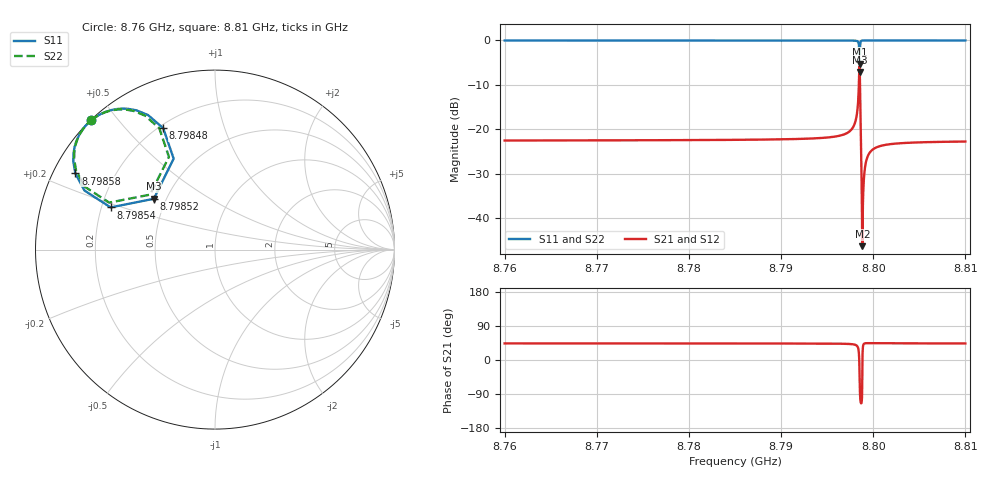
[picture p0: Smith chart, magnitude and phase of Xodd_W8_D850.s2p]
! Sonnet Data File
! From: emgraph Version : 16.52
! From Project: Qubit_Xmon2_brg
! Data is De-embedded
! Data File Written: 10/25/2017 15:28:40
!< HDATE 10/25/2017 13:50:25
!< MDATE 10/25/2017 13:50:25
!< PARAMS
!< Lj = 11.0
!< Gap = 6.0
!< Pwid = 2000.0
!< Airgap = 6.0
!< Width = 10.0
!< Bwid = 8.0
!< Dis1 = 850.0
!< Dis2 = 856.0
!< END PARAMS
# GHZ S MA R 34.70000
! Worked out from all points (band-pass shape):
!   2501 points, 8.76 GHz to 8.81 GHz, reference 34.7 ohm
!   highest |S21| = -5.32 dB at 8.79852 GHz (marker M1); lowest = -46.2 dB at 8.79882 GHz (marker M2)
!   |S21| within 3 dB of the highest: 8.798464 GHz to 8.79855 GHz (85.96 kHz wide, 0.000977 % of centre)
!   lowest |S11| = -7.1 dB at 8.79852 GHz (marker M3), VSWR 2.59, Z = 14.9 + j10.5 ohm
!   |S11| at or under -10 dB: nowhere
!   |S22| runs from -6.5 to 0.0 dB; largest |S21 - S12| = 0
!   S11 on the Smith chart (normalised r, x): 8.76 GHz: 0.00, +0.43; 8.79848 GHz: 0.22, +0.64; 8.79852 GHz: 0.43, +0.30; 8.79854 GHz: 0.24, +0.18; 8.79858 GHz: 0.06, +0.25; 8.81 GHz: 0.00, +0.43
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8.76  0.9972 133.8  0.07507 43.8  0.07507 43.8  0.9972 133.8
!< P1 F=8.76 Eeff=(5.13726025 -5.6937e-5) Z0=(34.6466742 -9.6556e-5) R=0.0 C=0.0
!< P2 F=8.76 Eeff=(5.13726025 -5.6937e-5) Z0=(34.6466742 -9.6556e-5) R=0.0 C=0.0
8.76834  0.9972 133.8  0.07532 43.7  0.07532 43.7  0.9972 133.8
8.77668  0.9971 133.7  0.07568 43.7  0.07568 43.7  0.9971 133.7
8.785  0.9971 133.6  0.07639 43.6  0.07639 43.6  0.9971 133.6
8.79334  0.9968 133.4  0.0791 43.4  0.0791 43.4  0.9969 133.4
8.79732  0.9954 132.6  0.0932 42.4  0.0932 42.4  0.9954 132.6
8.79792  0.9926 131.5  0.1114 40.9  0.1114 40.9  0.9927 131.6
8.79822  0.9844 129.3  0.1472 37.7  0.1472 37.7  0.9847 129.6
8.79836  0.9624 125.8  0.2067 31.7  0.2067 31.7  0.9633 126.3
8.79848  0.7352 113.1  0.4426 0.9  0.4426 0.9  0.7451 114.7
8.79852  0.4429 140.3  0.5419 -43.8  0.5419 -43.8  0.4739 139.8
8.79854  0.6272 158.0  0.4497 -69.6  0.4497 -69.6  0.6448 156.1
8.79858  0.8861 151.4  0.2396 -98.1  0.2396 -98.1  0.8911 150.3
8.79874  0.9913 139.4  0.02511 -111.7  0.02511 -111.7  0.9918 139.1
8.79882  0.9954 137.9  0.004886 -17.8  0.004886 -17.8  0.9957 137.7
8.7989  0.997 137.0  0.01741 37.7  0.01741 37.7  0.9971 136.8
8.79898  0.9977 136.4  0.02722 42.3  0.02722 42.3  0.9978 136.3
8.79914  0.9981 135.7  0.03945 44.1  0.03945 44.1  0.9982 135.6
8.79924  0.9982 135.4  0.04436 44.4  0.04436 44.4  0.9983 135.3
8.7997  0.9981 134.7  0.05627 44.4  0.05627 44.4  0.9981 134.7
8.80168  0.9976 134.0  0.06798 44.0  0.06798 44.0  0.9976 134.0
8.81  0.9973 133.7  0.07312 43.7  0.07312 43.7  0.9973 133.7
